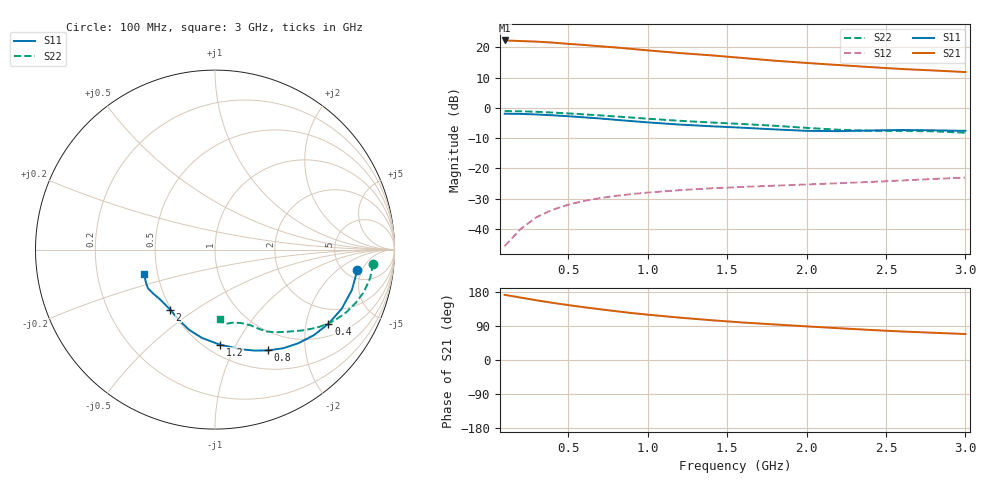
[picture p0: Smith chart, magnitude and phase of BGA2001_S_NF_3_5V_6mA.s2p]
! Title: BGA2001
! Bias: Vce=3.5V; Ic=6.0mA controlled / noise data included
! Company: Philips Semiconductors NL
! User: Quality&Reliability T&D
! Measure time: 23 Oct 1998 / 08:34:12
#  MHz  S  MA  R 50
! Freq  S11  S21  S12  S22  :
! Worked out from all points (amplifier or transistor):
!   20 points, 100 MHz to 3 GHz, reference 50 ohm
!   highest |S21| = 22.3 dB at 100 MHz (marker M1)
!   |S21| within 3 dB of that: start of sweep to 942.5 MHz
!   unconditionally stable (mu >= 1): 1.917 GHz to end of sweep
!   at 400 MHz: K = 0.29, MSG = 27.6 dB, |S12| = -33.7 dB
!   at 1.2 GHz: K = 0.64, MSG = 22.7 dB, |S12| = -27.2 dB
!   at 3 GHz: K = 1.25, MAG = 14.4 dB, |S12| = -23.0 dB
!   lowest NFmin = 1.36 dB at 1.8 GHz
!   S11 on the Smith chart (normalised r, x): 100 MHz: 6.41, -4.08; 400 MHz: 1.40, -2.69; 800 MHz: 0.74, -1.39; 1.2 GHz: 0.59, -0.86; 2 GHz: 0.49, -0.40; 3 GHz: 0.42, -0.14
100  0.8011 -8.2  12.99 171.9  0.005201 68.5  0.8838 -5.1
200  0.7953 -16.4  12.7 164.8  0.009944 77.1  0.8789 -10.3
300  0.7792 -25.0  12.43 157.6  0.01561 76.5  0.8628 -15.8
400  0.755 -33.2  11.99 151.0  0.02071 73.0  0.8377 -20.9
500  0.7282 -40.9  11.43 144.9  0.02519 69.3  0.8106 -25.5
600  0.6982 -48.4  10.95 139.2  0.02902 66.0  0.7813 -29.7
700  0.6684 -55.3  10.41 134.0  0.0324 63.3  0.7518 -33.3
800  0.6351 -62.1  9.95 128.8  0.03523 60.8  0.7216 -36.7
900  0.6049 -68.5  9.416 124.0  0.03768 58.9  0.6919 -39.8
1000  0.5763 -74.8  8.91 119.7  0.03991 57.3  0.6632 -42.8
1200  0.5305 -87.1  8.055 111.8  0.04371 55.0  0.612 -48.3
1400  0.4974 -98.4  7.377 105.0  0.047 53.6  0.5738 -53.4
1600  0.4701 -107.8  6.665 98.9  0.04955 53.3  0.5413 -57.5
1800  0.4412 -116.9  6.017 93.8  0.05191 54.2  0.5068 -60.8
2000  0.4176 -126.9  5.524 88.8  0.0543 54.4  0.4678 -64.6
2200  0.4127 -137.1  5.105 83.9  0.05694 54.5  0.4353 -70.0
2400  0.4231 -144.9  4.724 79.3  0.05979 55.2  0.4193 -76.2
2600  0.4312 -150.0  4.385 75.2  0.06323 57.0  0.4173 -80.8
2800  0.426 -154.8  4.15 71.9  0.06707 57.6  0.4101 -83.5
3000  0.4175 -160.8  3.904 68.5  0.07066 58.4  0.3888 -86.2
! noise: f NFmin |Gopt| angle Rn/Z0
900  1.38  0.29  19.5  0.29
1000  1.46  0.27  19  0.27
1800  1.363  0.264  71.28  0.255
2000  1.41  0.23  70.92  0.226
2200  1.524  0.192  80.92  0.218
2400  1.603  0.187  102.8  0.204
